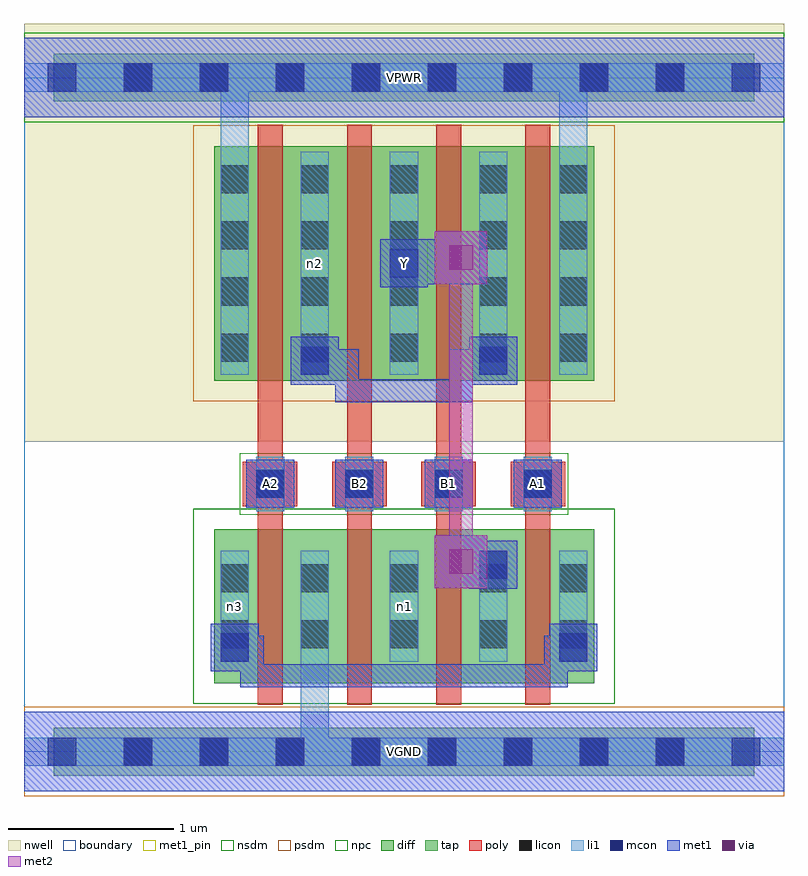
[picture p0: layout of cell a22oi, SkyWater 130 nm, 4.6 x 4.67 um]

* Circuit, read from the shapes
.subckt a22oi A1 A2 B1 B2 VGND VPWR Y n1 n2 n3
XM1 VGND A2 n3 VGND sky130_fd_pr__nfet_01v8 w=0.93 l=0.15
XM2 n1 B2 VGND VGND sky130_fd_pr__nfet_01v8 w=0.93 l=0.15
XM3 Y B1 n1 VGND sky130_fd_pr__nfet_01v8 w=0.93 l=0.15
XM4 n3 A1 Y VGND sky130_fd_pr__nfet_01v8 w=0.93 l=0.15
XM5 n2 A2 VPWR VPWR sky130_fd_pr__pfet_01v8 w=1.42 l=0.15
XM6 Y B2 n2 VPWR sky130_fd_pr__pfet_01v8 w=1.42 l=0.15
XM7 n2 B1 Y VPWR sky130_fd_pr__pfet_01v8 w=1.42 l=0.15
XM8 VPWR A1 n2 VPWR sky130_fd_pr__pfet_01v8 w=1.42 l=0.15
.ends

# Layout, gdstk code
import gdstk
lib = gdstk.Library(unit=1e-6, precision=1e-09)
def R(c, l, rs):  # rectangles x0, y0, x1, y1
    for r in rs: c.add(gdstk.rectangle(r[:2], r[2:], *l))
def A(c, l, x, y, w, h, nx, ny, dx, dy):  # array of equal rectangles
    R(c, l, [(x+i*dx, y+j*dy, x+i*dx+w, y+j*dy+h) for i in range(nx) for j in range(ny)])
nwell = (64, 20)
diff = (65, 20)
tap = (65, 44)
poly = (66, 20)
licon = (66, 44)
li1 = (67, 20)
mcon = (67, 44)
met1_pin = (68, 16)
met1 = (68, 20)
via = (68, 44)
met2 = (69, 20)
nsdm = (93, 44)
psdm = (94, 20)
npc = (95, 20)
boundary = (235, 4)

a22oi = lib.new_cell('a22oi')
R(a22oi, nwell, [(0,1.875,4.6,4.405)])
R(a22oi, diff, [(1.15,0.415,3.45,1.345), (1.15,2.245,3.45,3.665)])
R(a22oi, tap, [(0.18,-0.145,4.42,0.145), (0.18,3.935,4.42,4.225)])
A(a22oi, poly, 1.415, 0.285, 0.15, 3.51, 4, 1, 0.54, 0)
A(a22oi, poly, 1.325, 1.485, 0.33, 0.27, 4, 1, 0.54, 0)
A(a22oi, licon, 0.605, -0.085, 0.17, 0.17, 8, 2, 0.46, 4.08)
A(a22oi, licon, 1.675, 0.625, 0.17, 0.17, 3, 2, 0.54, 0.34)
A(a22oi, licon, 1.405, 1.535, 0.17, 0.17, 4, 1, 0.54, 0)
A(a22oi, licon, 1.19, 2.36, 0.17, 0.17, 1, 4, 0, 0.34)
A(a22oi, licon, 1.675, 2.36, 0.17, 0.17, 3, 4, 0.54, 0.34)
A(a22oi, licon, 3.24, 2.36, 0.17, 0.17, 1, 4, 0, 0.34)
R(a22oi, licon, [(1.19,0.625,1.36,0.795), (3.24,0.625,3.41,0.795), (1.19,0.965,1.36,1.135), (3.24,0.965,3.41,1.135)])
A(a22oi, li1, 1.675, 0.545, 0.17, 0.67, 3, 1, 0.54, 0)
A(a22oi, li1, 1.405, 1.455, 0.17, 0.33, 4, 1, 0.54, 0)
A(a22oi, li1, 1.675, 2.28, 0.17, 1.35, 3, 1, 0.54, 0)
R(a22oi, li1, [(0,-0.085,4.6,0.085), (1.675,-0.085,1.845,1.215), (1.19,0.545,1.36,1.215), (3.24,0.545,3.41,1.215), (1.19,2.28,1.36,3.63), (1.19,2.28,1.36,4.165), (3.24,2.28,3.41,3.63), (3.24,2.28,3.41,4.165), (0,3.995,4.6,4.165)])
A(a22oi, mcon, 0.145, -0.085, 0.17, 0.17, 10, 2, 0.46, 4.08)
A(a22oi, mcon, 1.405, 1.535, 0.17, 0.17, 4, 1, 0.54, 0)
R(a22oi, mcon, [(1.19,0.545,1.36,0.715), (3.24,0.545,3.41,0.715), (2.755,1.045,2.925,1.215), (1.675,2.28,1.845,2.45), (2.755,2.28,2.925,2.45), (2.215,2.87,2.385,3.04)])
A(a22oi, met1_pin, 1.345, 1.475, 0.29, 0.29, 4, 1, 0.54, 0)
R(a22oi, met1_pin, [(0,-0.24,4.6,0.24), (2.155,2.81,2.445,3.1), (0,3.84,4.6,4.32)])
A(a22oi, met1, 1.345, 1.475, 0.29, 0.29, 4, 1, 0.54, 0)
R(a22oi, met1, [(0,-0.24,4.6,0.24), (1.31,0.39,1.45,0.7), (1.31,0.39,3.29,0.53), (3.15,0.39,3.29,0.7), (1.13,0.485,1.42,0.775), (3.18,0.485,3.47,0.775), (1.205,0.56,1.45,0.7), (3.15,0.56,3.395,0.7), (2.695,0.985,2.985,1.275), (2.485,0.99,2.805,1.31), (2.575,1.06,2.91,1.2), (2.575,1.06,2.715,1.22), (1.885,2.115,2.025,2.435), (1.885,2.115,2.715,2.255), (2.575,2.115,2.715,2.435), (1.615,2.22,1.905,2.51), (2.695,2.22,2.985,2.51), (1.69,2.295,2.025,2.435), (2.575,2.295,2.91,2.435), (2.155,2.81,2.445,3.1), (2.445,2.83,2.485,3.1), (2.485,2.83,2.805,3.15), (2.23,2.92,2.37,3.06), (2.23,2.92,2.715,3.06), (0,3.84,4.6,4.32)])
R(a22oi, via, [(2.57,1.075,2.72,1.225), (2.57,2.915,2.72,3.065)])
R(a22oi, met2, [(2.485,0.99,2.805,1.31), (2.575,1.08,2.715,3.06), (2.485,2.83,2.805,3.15)])
R(a22oi, nsdm, [(1.025,0.29,3.575,1.47), (0,3.81,4.6,4.35)])
R(a22oi, psdm, [(0,-0.27,4.6,0.27), (1.025,2.12,3.575,3.79)])
R(a22oi, npc, [(1.305,1.435,3.295,1.805)])
R(a22oi, boundary, [(0,0,4.6,4.08)])
a22oi.add(gdstk.Label('n3', (1.275,0.88), layer=67, texttype=5))
a22oi.add(gdstk.Label('n1', (2.3,0.88), layer=67, texttype=5))
a22oi.add(gdstk.Label('n2', (1.76,2.955), layer=67, texttype=5))
a22oi.add(gdstk.Label('A2', (1.49,1.62), layer=68, texttype=5))
a22oi.add(gdstk.Label('B2', (2.03,1.62), layer=68, texttype=5))
a22oi.add(gdstk.Label('B1', (2.57,1.62), layer=68, texttype=5))
a22oi.add(gdstk.Label('A1', (3.11,1.62), layer=68, texttype=5))
a22oi.add(gdstk.Label('Y', (2.3,2.955), layer=68, texttype=5))
a22oi.add(gdstk.Label('VPWR', (2.3,4.08), layer=68, texttype=5))
a22oi.add(gdstk.Label('VGND', (2.3,0), layer=68, texttype=5))
a22oi.add(gdstk.Label('A2', (1.49,1.62), layer=68, texttype=16))
a22oi.add(gdstk.Label('B2', (2.03,1.62), layer=68, texttype=16))
a22oi.add(gdstk.Label('B1', (2.57,1.62), layer=68, texttype=16))
a22oi.add(gdstk.Label('A1', (3.11,1.62), layer=68, texttype=16))
a22oi.add(gdstk.Label('Y', (2.3,2.955), layer=68, texttype=16))
a22oi.add(gdstk.Label('VPWR', (2.3,4.08), layer=68, texttype=16))
a22oi.add(gdstk.Label('VGND', (2.3,0), layer=68, texttype=16))

lib.write_gds('a22oi.gds')
